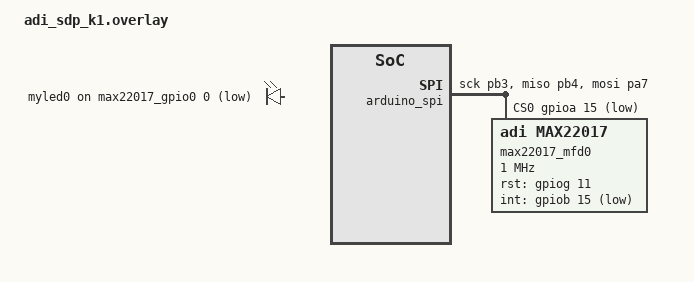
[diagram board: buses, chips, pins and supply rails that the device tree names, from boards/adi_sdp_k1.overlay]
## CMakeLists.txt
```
# SPDX-License-Identifier: Apache-2.0

cmake_minimum_required(VERSION 3.28.0)
find_package(Zephyr REQUIRED HINTS $ENV{ZEPHYR_BASE})
project(blinky)

# Resolve required led0 alias
dt_alias(led0_path PROPERTY "led0")
if(NOT DEFINED led0_path)
  message(FATAL_ERROR
    "\n"
    "Blinky requires a devicetree 'led0' alias, which this board does not define.\n"
    "Define it in the board devicetree or in an overlay. See the sample\n"
    "documentation, section 'Adding board support'.\n"
  )
endif()

# Check if led0 alias node is enabled
dt_node_has_status(led0_ok PATH "${led0_path}" STATUS okay)
if(NOT led0_ok)
  message(FATAL_ERROR
    "\n"
    "The node behind the devicetree 'led0' alias, ${led0_path}, is not enabled.\n"
    "Set its status to \"okay\" in an overlay. See the sample documentation,\n"
    "section 'Adding board support'.\n"
  )
endif()

target_sources(app PRIVATE src/main.c)
```

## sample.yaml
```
sample:
  name: Blinky Sample
tests:
  sample.basic.blinky:
    tags:
      - LED
      - gpio
    filter: dt_enabled_alias_with_parent_compat("led0", "gpio-leds")
    depends_on: gpio
    harness: led
    integration_platforms:
      - frdm_k64f
```

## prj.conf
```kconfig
CONFIG_GPIO=y
CONFIG_PRINTK=y
CONFIG_RAM_CONSOLE=y
CONFIG_GPIO_DSPIC=y
CONFIG_STATIC_INIT_GNU=y
```

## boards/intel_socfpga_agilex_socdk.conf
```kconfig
# Copyright (c) 2023, Intel Corporation.
# SPDX-License-Identifier: Apache-2.0

CONFIG_STDOUT_CONSOLE=y
CONFIG_PRINTK=y
```

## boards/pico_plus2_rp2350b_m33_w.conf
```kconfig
# the LED is connected to the wifi controller
CONFIG_NETWORKING=y
CONFIG_WIFI=y
CONFIG_MAIN_STACK_SIZE=2048
CONFIG_TEST_RANDOM_GENERATOR=y
```

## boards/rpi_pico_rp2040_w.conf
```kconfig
CONFIG_ENTROPY_GENERATOR=y
CONFIG_TEST_RANDOM_GENERATOR=y

CONFIG_NETWORKING=y
CONFIG_WIFI=y
CONFIG_CYW43439=y
```

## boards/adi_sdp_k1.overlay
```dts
/ {
	aliases {
		led0 = &myled0;
	};

	leds {
		compatible = "gpio-leds";
		myled0: led_0 {
			gpios = <&max22017_gpio0 0 GPIO_ACTIVE_LOW>;
//			gpios = <&fault_gpio0 0 GPIO_ACTIVE_LOW>;
		};
	};
};

&arduino_spi {
	status = "okay";
	pinctrl-names = "default";
	pinctrl-0 = <&spi1_sck_pb3 &spi1_miso_pb4 &spi1_mosi_pa7>;
	cs-gpios = <&gpioa 15 (GPIO_ACTIVE_LOW | GPIO_PULL_UP)>;

	max22017_mfd0: max22017_mfd@0 {
		compatible = "adi,max22017";
		spi-max-frequency = <1000000>;
		reg = <0>;
		rst-gpios = <&gpiog 11 GPIO_ACTIVE_HIGH>;
		int-gpios = <&gpiob 15 GPIO_ACTIVE_LOW>;
		crc-mode;
		status = "okay";

		max22017_gpio0: max22017-gpio {
			compatible = "adi,max22017-gpio";
			gpio-controller;
			ngpios = <5>;
			#gpio-cells = <2>;
			status = "okay";
		};
	};
};
```

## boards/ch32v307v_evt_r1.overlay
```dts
/* SPDX-License-Identifier: Apache-2.0 */

/ {
	aliases {
		led0 = &led_1;
	};

	leds {
		compatible = "gpio-leds";

		led_1: led1 {
			gpios = <&gpiod 0 GPIO_ACTIVE_LOW>;
		};
	};
};
```

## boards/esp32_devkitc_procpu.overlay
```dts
/* Below configuration has been tested for ESP32 Devkit V1 */

/
{
	aliases
	{
		led0 = &gpio2;
	};

	leds
	{
		compatible = "gpio-leds";

gpio2:
		led_0
		{
			gpios = <&gpio0 2 GPIO_ACTIVE_LOW>;
			label = "On-board LED";
		};
	};
};
```

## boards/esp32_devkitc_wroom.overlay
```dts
/*
 * SPDX-License-Identifier: Apache-2.0
 */

#include <zephyr/dt-bindings/pwm/pwm.h>
#include <dt-bindings/pinctrl/esp32-pinctrl.h>

/ {
	aliases {
		led0 = &gpio_led_blue;
	};
	leds {
		compatible = "gpio-leds";
		gpio_led_blue: led_0 {
			gpios = <&gpio0 2 GPIO_ACTIVE_HIGH>;
		};
	};
};
```

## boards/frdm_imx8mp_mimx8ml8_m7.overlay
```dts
/* SPDX-License-Identifier: Apache-2.0 */
/* SPDX-FileCopyrightText: Copyright (c) 2026 Filip Stojanovic <filipembedded@gmail.com> */

&i2c1 {
	status = "okay";
};

&gpio_exp_a {
	status = "okay";
};

&status_led {
	status = "okay";
};
```

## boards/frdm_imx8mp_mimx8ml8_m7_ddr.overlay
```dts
/* SPDX-License-Identifier: Apache-2.0 */
/* SPDX-FileCopyrightText: Copyright (c) 2026 Filip Stojanovic <filipembedded@gmail.com> */

#include "frdm_imx8mp_mimx8ml8_m7.overlay"
```

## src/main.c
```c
/*
 * Copyright (c) 2016 Intel Corporation
 *
 * SPDX-License-Identifier: Apache-2.0
 */

#include <stdio.h>
#include <zephyr/kernel.h>
#include <zephyr/drivers/gpio.h>

/* 1000 msec = 1 sec */
#define SLEEP_TIME_MS   1000

/* The devicetree node identifier for the "led0" alias. */
#define LED0_NODE DT_ALIAS(led0)

/* A missing or disabled "led0" alias is rejected at configuration time.
 * A build error on this line means the alias resolves to a node without
 * a usable "gpios" property. See the sample documentation for information
 * on how to fix this.
 */
static const struct gpio_dt_spec led = GPIO_DT_SPEC_GET(LED0_NODE, gpios);

int main(void)
{
	int ret;
	bool led_state = true;

	if (!gpio_is_ready_dt(&led)) {
		return 0;
	}

	ret = gpio_pin_configure_dt(&led, GPIO_OUTPUT_ACTIVE);
	if (ret < 0) {
		return 0;
	}

	while (1) {
		ret = gpio_pin_toggle_dt(&led);
		if (ret < 0) {
			return 0;
		}

		led_state = !led_state;
		printf("LED state: %s\n", led_state ? "ON" : "OFF");
		k_msleep(SLEEP_TIME_MS);
	}
	return 0;
}
```

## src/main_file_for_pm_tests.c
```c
/*
 * Copyright (c) 2016 Open-RnD Sp. z o.o.
 * Copyright (c) 2020 Nordic Semiconductor ASA
 *
 * SPDX-License-Identifier: Apache-2.0
 */

#include <zephyr.h>
#include <device.h>
#include <drivers/gpio.h>
#include <sys/util.h>
#include <sys/printk.h>
#include <inttypes.h>
#include <power/power_state.h>
#include <power/power.h>
#include <soc_power.h>


#define SLEEP_TIME_MS	7000
/*
 * The led0 devicetree alias is optional. If present, we'll use it
 * to turn on the LED whenever the button is pressed.
 */

#define LED0_NODE	DT_ALIAS(led0)

#if DT_NODE_HAS_STATUS(LED0_NODE, okay) && DT_NODE_HAS_PROP(LED0_NODE, gpios)
#define LED0_GPIO_LABEL	DT_GPIO_LABEL(LED0_NODE, gpios)
#define LED0_GPIO_PIN	DT_GPIO_PIN(LED0_NODE, gpios)
#define LED0_GPIO_FLAGS	(GPIO_OUTPUT | DT_GPIO_FLAGS(LED0_NODE, gpios))
#endif


#ifdef CONFIG_PM


#define SLP_STATES_SUPPORTED      (PM_STATE_SOFT_OFF + 1)

/* Thread properties */
#undef TASK_STACK_SIZE
#define TASK_STACK_SIZE           1024ul
#define PRIORITY                  K_PRIO_COOP(5)

/* Sleep time should be lower than SUSPEND_TO_IDLE */
#define THREAD_A_SLEEP_TIME       100ul
#define THREAD_B_SLEEP_TIME       1000ul

/* Maximum latency should be less than 300 ms */
#define MAX_EXPECTED_MS_LATENCY   500ul

/* Sleep some extra time than minimum residency */
#define DP_EXTRA_SLP_TIME         1000ul
#define LT_EXTRA_SLP_TIME         2000ul

#define SEC_TO_MSEC               1000ul

struct pm_counter {
	uint8_t entry_cnt;
	uint8_t exit_cnt;
};
static int64_t trigger_time;
static bool checks_enabled;
/* Track entry/exit to sleep */
struct pm_counter pm_counters[SLP_STATES_SUPPORTED];

static const struct pm_state_info residency_info[] =
	PM_STATE_INFO_DT_ITEMS_LIST(DT_NODELABEL(cpu0));
static size_t residency_info_len = PM_STATE_DT_ITEMS_LEN(DT_NODELABEL(cpu0));


const struct device *led;


static void pm_latency_check(void)
{
	int64_t latency;
	int secs;
	int msecs;

	latency = k_uptime_delta(&trigger_time);
	secs = (int)(latency / SEC_TO_MSEC);
	msecs = (int)(latency % SEC_TO_MSEC);
	printk("PM sleep entry latency %d.%03d seconds\n", secs, msecs);

}

static void notify_pm_state_entry(enum pm_state state)
{
	if (!checks_enabled) {
		return;
	}

	pm_counters[(int)state].entry_cnt++;
	pm_latency_check();
}

static void notify_pm_state_exit(enum pm_state state)
{
	if (!checks_enabled) {
		return;
	}

	pm_counters[(int)state].exit_cnt++;
}

static struct pm_notifier notifier = {
	.state_entry = notify_pm_state_entry,
	.state_exit = notify_pm_state_exit,
};
static void pm_check_counters(uint8_t cycles)
{
	for (int i = 0; i < SLP_STATES_SUPPORTED; i++) {

		printk("PM state[%d] entry counter %d\n", i,
			pm_counters[i].entry_cnt);
		printk("PM state[%d] exit counter %d\n", i,
			pm_counters[i].exit_cnt);

		zassert_equal(pm_counters[i].entry_cnt,
				pm_counters[i].exit_cnt,
				"PM counters entry/exit mismatch");

		pm_counters[i].entry_cnt = 0;
		pm_counters[i].exit_cnt = 0;
	}
}

static void pm_reset_counters(void)
{
	for (int i = 0; i < SLP_STATES_SUPPORTED; i++) {
		pm_counters[i].entry_cnt = 0;
		pm_counters[i].exit_cnt = 0;
	}

	checks_enabled = false;
}

static void pm_trigger_marker(void)
{
	trigger_time = k_uptime_get();

	printk("PM >\n");
}
static void pm_exit_marker(void)
{
	int64_t residency_delta;
	int secs;
	int msecs;

	printk("PM <\n");

	if (trigger_time > 0) {
		residency_delta = k_uptime_delta(&trigger_time);
		secs = (int)(residency_delta / SEC_TO_MSEC);
		msecs = (int)(residency_delta % SEC_TO_MSEC);
		printk("PM sleep residency %d.%03d seconds\n", secs, msecs);
	}
}

#endif 

    gpc_lpm_config_t config;
    
static bool prev_state=false;

void my_work_handler(struct k_work *work)
{
	prev_state=!prev_state;
	if(prev_state){
 /*       __DSB();
        __ISB();
        __WFI();
		printk("Entered WAIT MODE iA\n");
		GPC_EnterWaitMode(GPC, &config);*/
		printk("Entered WAIT MODE iA\n");
		soc_enter_lpm((enum pm_state)PM_STATE_SUSPEND_TO_IDLE);
	}
	else{
/*        __DSB();
        __ISB();
        __WFI();
		printk("Entered STOP MODE iA\n");
		GPC_EnterStopMode(GPC, &config);*/
		printk("Entered STOP MODE iA\n");
		soc_enter_lpm((enum pm_state)PM_STATE_SUSPEND_TO_RAM);
	}    
}

K_WORK_DEFINE(my_work, my_work_handler);

void my_timer_handler(struct k_timer *dummy)
{
    k_work_submit(&my_work);
}

K_TIMER_DEFINE(my_timer, my_timer_handler, NULL);



/*
 * Get button configuration from the devicetree sw0 alias.
 *
 * At least a GPIO device and pin number must be provided. The 'flags'
 * cell is optional.
 */

#define SW0_NODE	DT_ALIAS(sw0)

#if DT_NODE_HAS_STATUS(SW0_NODE, okay)
#define SW0_GPIO_LABEL	DT_GPIO_LABEL(SW0_NODE, gpios)
#define SW0_GPIO_PIN	DT_GPIO_PIN(SW0_NODE, gpios)
#define SW0_GPIO_FLAGS	(GPIO_INPUT | DT_GPIO_FLAGS(SW0_NODE, gpios))
#else
#error "Unsupported board: sw0 devicetree alias is not defined"
#define SW0_GPIO_LABEL	""
#define SW0_GPIO_PIN	0
#define SW0_GPIO_FLAGS	0
#endif

/* LED helpers, which use the led0 devicetree alias if it's available. */
static const struct device *initialize_led(void);
static void match_led_to_button(const struct device *button,
				const struct device *led);

static struct gpio_callback button_cb_data;

void button_pressed(const struct device *dev, struct gpio_callback *cb,
		    uint32_t pins)
{
//	__enable_irq();
//	GPC->LPCR_M7 = GPC->LPCR_M7 & (~GPC_LPCR_M7_LPM0_MASK);
	soc_enter_lpm((enum pm_state)PM_STATE_ACTIVE);
	printk("Left LP state.\tButton pressed at %" PRIu32 "\n", k_cycle_get_32());
	k_usleep(100);
}

void main(void)
{
   
#ifdef CONFIG_PM

	led = initialize_led();
	
	gpio_pin_set(led, LED0_GPIO_PIN, 1);
	

		
	while(1){
		pm_notifier_register(&notifier);
		
		printk("Entered WAIT MODE iA\n");
		//pm_trigger_marker();
		k_msleep((residency_info[0].min_residency_us / 1000U) +
				 LT_EXTRA_SLP_TIME);
		//pm_exit_marker();
		//printk("Exit WAIT MODE iA\n");
		//k_cpu_idle();
		pm_notifier_unregister(&notifier);
	}
#else

	//TimerInterruptSetup();
		struct k_timer my_timer;
	extern void my_expiry_function(struct k_timer *timer_id);

	k_timer_init(&my_timer, my_timer_handler, NULL);
	
	//k_timer_start(&my_timer, K_SECONDS(4), K_SECONDS(4));

/*	
	 config.enCpuClk              = false;
    config.enFastWakeUp          = false;
    config.enDsmMask             = false;
    config.enWfiMask             = false;
    config.enVirtualPGCPowerdown = true;
    config.enVirtualPGCPowerup   = true;
    
	#define APP_PowerUpSlot (5U)
	#define APP_PowerDnSlot (6U)
	
  	GPC_Init(GPC, APP_PowerUpSlot, APP_PowerDnSlot);
	GPC_EnableIRQ(GPC, GPIO2_Combined_16_31_IRQn);  //GPIO2_20 or SW2
	
*/
	soc_config_lpm(GPIO2_Combined_16_31_IRQn);
    
	const struct device *button;
	const struct device *led;
	int ret;

	button = device_get_binding(SW0_GPIO_LABEL);
	if (button == NULL) {
		printk("Error: didn't find %s device\n", SW0_GPIO_LABEL);
		return;
	}

	ret = gpio_pin_configure(button, SW0_GPIO_PIN, SW0_GPIO_FLAGS);
	if (ret != 0) {
		printk("Error %d: failed to configure %s pin %d\n",
		       ret, SW0_GPIO_LABEL, SW0_GPIO_PIN);
		return;
	}

	ret = gpio_pin_interrupt_configure(button,
					   SW0_GPIO_PIN,
					   GPIO_INT_EDGE_TO_ACTIVE);
	if (ret != 0) {
		printk("Error %d: failed to configure interrupt on %s pin %d\n",
			ret, SW0_GPIO_LABEL, SW0_GPIO_PIN);
		return;
	}

	gpio_init_callback(&button_cb_data, button_pressed, BIT(SW0_GPIO_PIN));
	gpio_add_callback(button, &button_cb_data);
	printk("Set up button at %s pin %d\n", SW0_GPIO_LABEL, SW0_GPIO_PIN);

	led = initialize_led();
	gpio_pin_set(led, LED0_GPIO_PIN, 1);

	printk("Press the button\n");
	while (1) {
		//match_led_to_button(button, led);
		printk("Entering WAIT iA\n");
		gpio_pin_set(led, LED0_GPIO_PIN, 0);
		soc_enter_lpm((enum pm_state)PM_STATE_SUSPEND_TO_RAM);
		printk("Entering STOP iA\n");
		gpio_pin_set(led, LED0_GPIO_PIN, 1);
		soc_enter_lpm((enum pm_state)PM_STATE_SUSPEND_TO_IDLE);
	}
#endif
}


#ifdef LED0_GPIO_LABEL
static const struct device *initialize_led(void)
{
	const struct device *led;
	int ret;

	led = device_get_binding(LED0_GPIO_LABEL);
	if (led == NULL) {
		printk("Didn't find LED device %s\n", LED0_GPIO_LABEL);
		return NULL;
	}

	ret = gpio_pin_configure(led, LED0_GPIO_PIN, LED0_GPIO_FLAGS);
	if (ret != 0) {
		printk("Error %d: failed to configure LED device %s pin %d\n",
		       ret, LED0_GPIO_LABEL, LED0_GPIO_PIN);
		return NULL;
	}

	printk("Set up LED at %s pin %d\n", LED0_GPIO_LABEL, LED0_GPIO_PIN);

	return led;
}

static void match_led_to_button(const struct device *button,
				const struct device *led)
{
	bool val;

	val = gpio_pin_get(button, SW0_GPIO_PIN);
	gpio_pin_set(led, LED0_GPIO_PIN, val);
}

#else  /* !defined(LED0_GPIO_LABEL) */
static const struct device *initialize_led(void)
{
	printk("No LED device was defined\n");
	return NULL;
}

static void match_led_to_button(const struct device *button,
				const struct device *led)
{
	return;
}
#endif	/* LED0_GPIO_LABEL */
```

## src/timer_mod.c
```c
#include <zephyr.h>
#include <device.h>
#include <sys/printk.h>
#include <inttypes.h>
#include <fsl_gpt.h>
#include "timer_mod.h"

/*ISR_DIRECT_DECLARE(timer_handler)
{

    GPT_ClearStatusFlags(SYSTICK_BASE, kGPT_OutputCompare1Flag);


    if (GPT_GetOutputCompareValue(SYSTICK_BASE, kGPT_OutputCompare_Channel1) != 1500000 - 1)
    {

        GPT_SetOutputCompareValue(SYSTICK_BASE, kGPT_OutputCompare_Channel1, 1500000 - 1);
    }

	printk("\tAlhumdulilah timer INT\n");



    __DSB();
    
    return 0;
 }
 
void TimerInterruptSetup(void)
{
	
    gpt_config_t config;
    GPT_GetDefaultConfig(&config);
    config.enableRunInDoze = true;
    config.clockSource     = kGPT_ClockSource_Osc;


    GPT_Init(SYSTICK_BASE, &config);

    GPT_SetOscClockDivider(SYSTICK_BASE, 16);


    GPT_SetOutputCompareValue(SYSTICK_BASE, kGPT_OutputCompare_Channel1, 1500000-1);

    GPT_EnableInterrupts(SYSTICK_BASE, kGPT_OutputCompare1InterruptEnable);




	IRQ_DIRECT_CONNECT(GPT1_IRQn, 7, timer_handler, 0);
	irq_enable(GPT1_IRQn);

    GPT_StartTimer(SYSTICK_BASE);
   
    
    printk("iA setup timer\n");
}*/
```

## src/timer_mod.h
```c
/*
 * Copyright 2018, NXP
 * All rights reserved.
 *
 * SPDX-License-Identifier: BSD-3-Clause
 */

#ifndef _TIMER_MOD_H_
#define _TIMER_MOD_H_

#include "fsl_common.h"

/*******************************************************************************
 * Definitions
 ******************************************************************************/
#define SYSTICK_BASE    GPT1
#define SYSTICK_IRQn    GPT1_IRQn
#define SYSTICK_HANDLER GPT1_IRQHandler
#define SYSTICK_CLOCK \
    24000000 / (CLOCK_GetRootPreDivider(kCLOCK_RootGpt1)) / (CLOCK_GetRootPostDivider(kCLOCK_RootGpt1))
/*******************************************************************************
 * Definitions
 ******************************************************************************/
/* Systick counter source clock frequency. Need config the Systick counter's(GPT) clock
 * source to this frequency in application.
 */
#define SYSTICK_COUNTER_SOURCE_CLK_FREQ (SYSTICK_CLOCK)
/* Define the counter clock of the systick (GPT).*/
#define SYSTICK_COUNTER_FREQ (8000000U)
/* Define the count per tick of the systick in run mode. For accuracy purpose,
 * please make SYSTICK_SOURCE_CLOCK times of configTICK_RATE_HZ.
 */
#define SYSTICK_COUNT_PER_TICK (SYSTICK_COUNTER_FREQ / configTICK_RATE_HZ)
/*******************************************************************************
 * API
 ******************************************************************************/

#if defined(__cplusplus)
extern "C" {
#endif /* __cplusplus*/

/*!
 * @brief Configure the system tick(GPT) before entering the low power mode.
 * @return Return the sleep time ticks.
 */
void TimerInterruptSetup(void);

#if defined(__cplusplus)
}
#endif /* __cplusplus*/
#endif /* _LPM_H_ */
```
